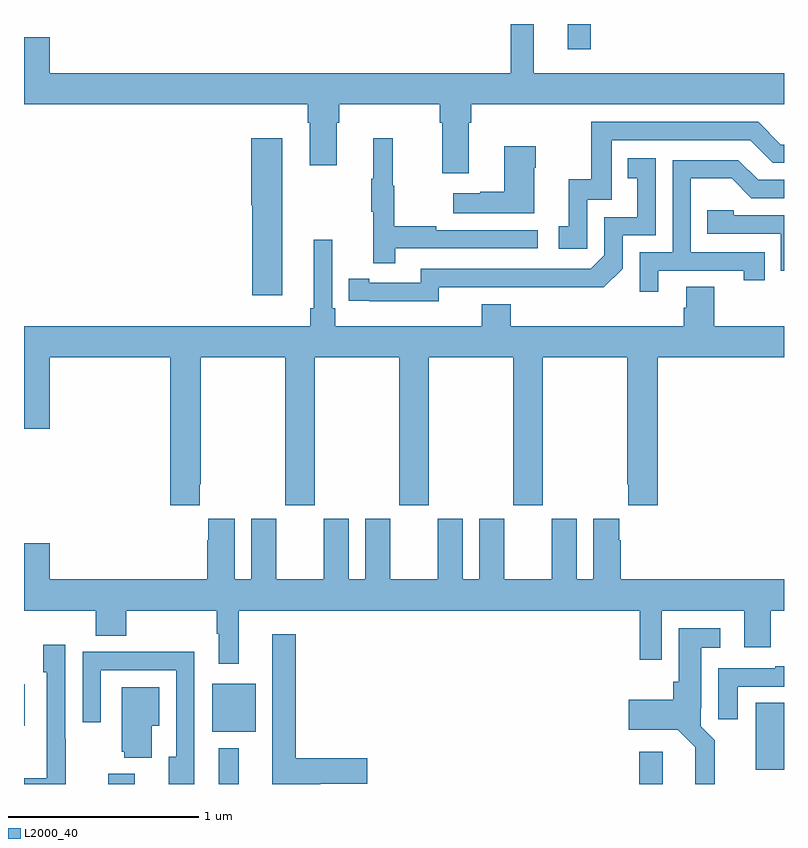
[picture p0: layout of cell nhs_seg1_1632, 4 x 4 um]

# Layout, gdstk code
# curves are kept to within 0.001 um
import gdstk
lib = gdstk.Library(unit=1e-6, precision=1e-09)
def R(c, l, rs):  # rectangles x0, y0, x1, y1
    for r in rs: c.add(gdstk.rectangle(r[:2], r[2:], *l))
def P(c, l, *ps):  # polygons
    for p in ps: c.add(gdstk.Polygon(p, *l))
L2000_40 = (2000, 40)

nhs_seg1_1632 = lib.new_cell('nhs_seg1_1632')
R(nhs_seg1_1632, L2000_40, [(201.443,504.199,201.583,504.253), (202.025,504.199,202.129,504.388), (204.239,504.199,204.361,504.37), (204.851,504.273,205,504.626), (201.992,504.473,202.219,504.727), (201,504.506,201.004,504.725), (203.861,508.065,203.983,508.199)])
P(nhs_seg1_1632, L2000_40, [(201.136,508.129),(201,508.129),(201,507.776),(202.493,507.776),(202.493,507.68),(202.505,507.68),(202.505,507.456),(202.645,507.456),(202.645,507.68),(202.658,507.68),(202.658,507.776),(203.189,507.776),(203.189,507.68),(203.201,507.68),(203.201,507.414),(203.341,507.414),(203.341,507.68),(203.354,507.68),(203.354,507.776),(205,507.776),(205,507.94),(203.683,507.94),(203.683,508.199),(203.562,508.199),(203.562,507.94),(201.136,507.94)],
  [(203.964,507.273),(204.093,507.273),(204.093,507.588),(204.822,507.588),(204.942,507.468),(205,507.468),(205,507.564),(204.984,507.564),(204.864,507.684),(203.985,507.684),(203.985,507.382),(203.867,507.382),(203.867,507.135),(203.814,507.135),(203.814,507.015),(203.964,507.015)],
  [(202.36,507.598),(202.196,507.598),(202.196,507.246),(202.202,507.246),(202.202,506.772),(202.36,506.772)],
  [(202.955,507.018),(203.704,507.018),(203.704,507.114),(203.171,507.114),(203.171,507.134),(202.948,507.134),(202.948,507.348),(202.94,507.348),(202.94,507.598),(202.838,507.598),(202.838,507.385),(202.827,507.385),(202.827,507.211),(202.838,507.211),(202.838,506.94),(202.955,506.94)],
  [(203.686,507.443),(203.694,507.443),(203.694,507.556),(203.528,507.556),(203.528,507.317),(203.402,507.317),(203.402,507.307),(203.259,507.307),(203.259,507.203),(203.686,507.203)],
  [(203.184,506.814),(204.052,506.813),(204.15,506.91),(204.15,507.087),(204.324,507.087),(204.324,507.493),(204.178,507.493),(204.178,507.387),(204.227,507.387),(204.227,507.183),(204.054,507.183),(204.054,506.982),(203.982,506.91),(203.088,506.91),(203.088,506.838),(202.816,506.838),(202.816,506.858),(202.708,506.858),(202.708,506.742),(203.184,506.741)],
  [(204.337,506.901),(204.788,506.901),(204.788,506.85),(204.899,506.85),(204.899,506.997),(204.51,506.997),(204.51,507.386),(204.724,507.386),(204.828,507.282),(205,507.282),(205,507.378),(204.865,507.378),(204.76,507.483),(204.414,507.483),(204.414,506.997),(204.24,506.997),(204.24,506.79),(204.337,506.79)],
  [(205,507.192),(204.735,507.192),(204.735,507.219),(204.595,507.219),(204.595,507.096),(204.984,507.096),(204.984,506.901),(205,506.901)],
  [(201.925,505.777),(201.93,505.777),(201.93,506.444),(202.375,506.444),(202.375,505.665),(202.53,505.665),(202.53,506.444),(202.975,506.444),(202.975,505.665),(203.13,505.665),(203.13,506.444),(203.575,506.444),(203.575,505.665),(203.73,505.665),(203.73,506.444),(204.175,506.444),(204.175,505.777),(204.179,505.777),(204.179,505.665),(204.335,505.665),(204.335,506.444),(205,506.444),(205,506.608),(204.633,506.608),(204.633,506.816),(204.485,506.816),(204.485,506.706),(204.473,506.706),(204.473,506.608),(203.561,506.608),(203.561,506.725),(203.408,506.725),(203.408,506.608),(202.637,506.608),(202.637,506.704),(202.623,506.704),(202.623,507.064),(202.526,507.064),(202.526,506.704),(202.507,506.704),(202.507,506.608),(201,506.608),(201,506.07),(201.136,506.07),(201.136,506.444),(201.77,506.444),(201.77,505.665),(201.925,505.665)],
  [(202.129,505.112),(204.241,505.112),(204.241,504.852),(204.357,504.852),(204.357,505.112),(204.791,505.112),(204.791,504.918),(204.931,504.918),(204.931,505.112),(205,505.112),(205,505.276),(204.14,505.276),(204.14,505.481),(204.133,505.481),(204.133,505.594),(203.996,505.594),(203.996,505.276),(203.908,505.276),(203.908,505.594),(203.777,505.594),(203.777,505.276),(203.527,505.276),(203.527,505.594),(203.396,505.594),(203.396,505.276),(203.308,505.276),(203.308,505.594),(203.177,505.594),(203.177,505.276),(202.927,505.276),(202.927,505.594),(202.796,505.594),(202.796,505.276),(202.708,505.276),(202.708,505.594),(202.577,505.594),(202.577,505.276),(202.327,505.276),(202.327,505.594),(202.196,505.594),(202.196,505.276),(202.108,505.276),(202.108,505.594),(201.971,505.594),(201.971,505.481),(201.965,505.481),(201.965,505.276),(201.136,505.276),(201.136,505.465),(201,505.465),(201,505.112),(201.377,505.112),(201.377,504.979),(201.537,504.979),(201.537,505.112),(202.015,505.112),(202.015,504.991),(202.025,504.991),(202.025,504.831),(202.129,504.831)],
  [(204.635,504.43),(204.561,504.504),(204.561,504.598),(204.565,504.598),(204.565,504.917),(204.664,504.917),(204.664,505.018),(204.446,505.018),(204.446,504.738),(204.416,504.738),(204.416,504.643),(204.183,504.643),(204.183,504.485),(204.441,504.485),(204.534,504.392),(204.533,504.199),(204.635,504.199)],
  [(202.558,504.2),(202.807,504.2),(202.807,504.335),(202.429,504.335),(202.429,504.988),(202.307,504.988),(202.307,504.199),(202.558,504.199)],
  [(201.219,504.437),(201.216,504.437),(201.216,504.931),(201.101,504.931),(201.101,504.786),(201.12,504.786),(201.12,504.228),(201,504.228),(201,504.199),(201.219,504.199)],
  [(201.897,504.896),(201.625,504.896),(201.625,504.894),(201.309,504.894),(201.309,504.525),(201.405,504.525),(201.405,504.798),(201.801,504.798),(201.801,504.342),(201.761,504.342),(201.761,504.199),(201.897,504.199)],
  [(204.757,504.711),(205,504.711),(205,504.82),(204.953,504.82),(204.953,504.807),(204.653,504.807),(204.653,504.54),(204.757,504.54)],
  [(201.673,504.506),(201.712,504.506),(201.712,504.709),(201.515,504.709),(201.515,504.369),(201.527,504.369),(201.527,504.338),(201.673,504.338)])

lib.write_gds('nhs_seg1_1632.gds')
